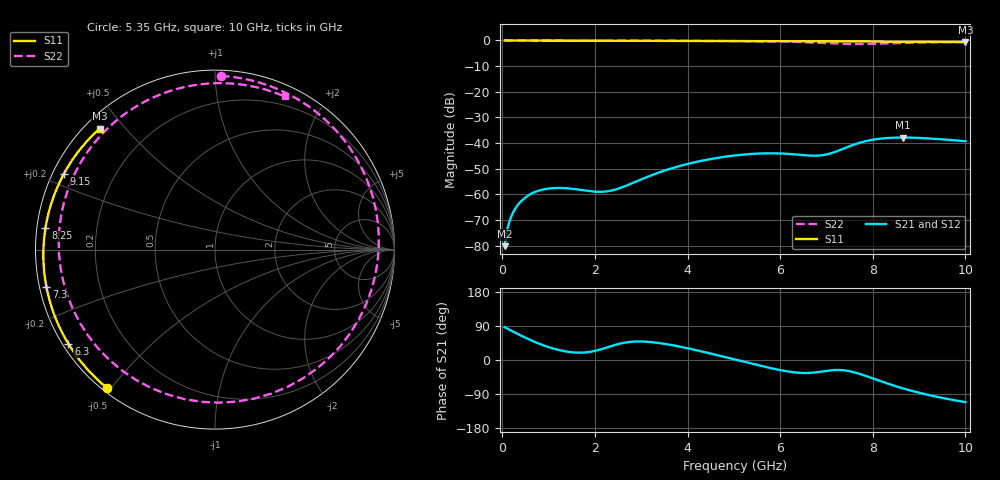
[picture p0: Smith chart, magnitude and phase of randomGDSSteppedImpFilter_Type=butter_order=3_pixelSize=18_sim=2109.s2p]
! freq	dB(S11)	phase(S11)	dB(S12)	phase(S12)
!  dB(S21)	phase(S21)	dB(S22)	phase(S22)
!S-par simulation data
#  GHz  S  DB  R 50
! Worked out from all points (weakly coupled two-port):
!   200 points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, 50 MHz to 10 GHz, reference 50 ohm
!   highest |S21| = -37.85 dB at 8.65 GHz (marker M1); lowest = -80.2 dB at 50 MHz (marker M2)
!   lowest |S11| = -0.6 dB at 10 GHz (marker M3), VSWR 28.18, Z = 2.1 + j21.4 ohm
!   |S11| at or under -10 dB: nowhere
!   |S22| runs from -1.4 to 0.0 dB; largest |S21 - S12| = 0
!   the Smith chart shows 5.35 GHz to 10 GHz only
!   S11 on the Smith chart (normalised r, x): 5.35 GHz: 0.01, -0.49; 6.3 GHz: 0.02, -0.29; 7.3 GHz: 0.02, -0.11; 8.25 GHz: 0.02, +0.06; 9.15 GHz: 0.03, +0.24; 10 GHz: 0.04, +0.43
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0.05  -0.00 -1.4  -80.16 86.7  -80.16 86.7  -0.00 -5.3
0.2  -0.01 -5.4  -68.29 77.0  -68.29 77.0  -0.03 -21.0
0.55  -0.02 -14.7  -60.52 56.3  -60.52 56.3  -0.07 -55.1
1.05  -0.04 -28.0  -57.61 32.1  -57.61 32.1  -0.10 -95.5
1.75  -0.06 -46.0  -58.38 19.6  -58.38 19.6  -0.11 -136.5
2.5  -0.08 -64.6  -57.78 42.1  -57.78 42.1  -0.11 -168.6
3.4  -0.11 -85.8  -51.35 44.6  -51.35 44.6  -0.14 159.6
4.2  -0.14 -103.6  -47.28 25.6  -47.28 25.6  -0.17 132.6
5.05  -0.18 -121.7  -44.76 0.5  -44.76 0.5  -0.24 101.0
5.35  -0.20 -127.9  -44.27 -8.6  -44.27 -8.6  -0.28 88.1
5.85  -0.23 -138.1  -43.98 -23.0  -43.98 -23.0  -0.38 62.9
6.3  -0.26 -147.2  -44.37 -32.5  -44.37 -32.5  -0.55 33.9
6.7  -0.29 -155.3  -44.91 -33.5  -44.91 -33.5  -0.80 0.2
7  -0.31 -161.4  -44.44 -28.5  -44.44 -28.5  -1.05 -31.5
7.3  -0.34 -167.5  -42.66 -26.4  -42.66 -26.4  -1.30 -68.6
7.7  -0.37 -175.7  -39.96 -36.0  -39.96 -36.0  -1.42 -121.3
7.95  -0.40 179.2  -38.84 -46.3  -38.84 -46.3  -1.35 -151.8
8.25  -0.43 172.9  -38.11 -59.2  -38.11 -59.2  -1.18 176.5
8.35  -0.44 170.7  -37.98 -63.3  -37.98 -63.3  -1.13 167.2
8.65  -0.47 164.3  -37.85 -74.9  -37.85 -74.9  -0.96 142.4
9.15  -0.52 153.3  -38.13 -90.9  -38.13 -90.9  -0.76 109.1
10  -0.62 133.7  -39.27 -111.2  -39.27 -111.2  -0.56 65.5
